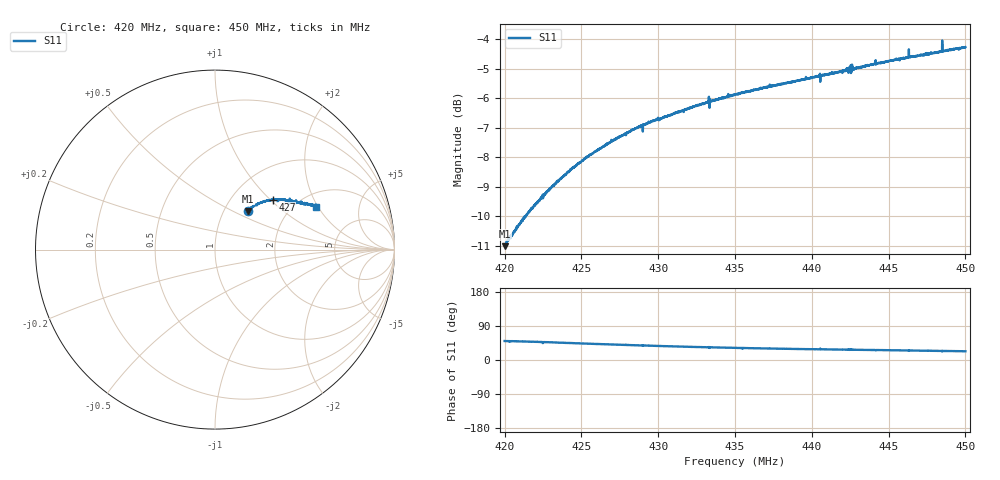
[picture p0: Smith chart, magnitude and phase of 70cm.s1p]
! Calibrated averaged scanner-service zoom
# Hz S RI R 50
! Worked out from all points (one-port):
!   3001 points, 420 MHz to 450 MHz, reference 50 ohm
!   lowest |S11| = -11.0 dB at 420 MHz (marker M1), VSWR 1.78, Z = 64.3 + j30 ohm
!   |S11| at or under -10 dB: start of sweep to 421.3395 MHz; 421.3525 MHz to 421.3678 MHz (15.27 kHz wide, 0.00362 % of centre); 421.376 MHz to 421.3827 MHz (6.672 kHz wide, 0.00158 % of centre)
!   S11 on the Smith chart (normalised r, x): 420 MHz: 1.28, +0.61; 427 MHz: 1.52, +1.03; 450 MHz: 2.52, +1.93
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4.2e8  0.1814 0.217
4.2002e8  0.1812 0.215
4.2061e8  0.1929 0.2261
4.2164e8  0.2144 0.2407
4.2281e8  0.2377 0.2556
4.2375e8  0.2579 0.2628
4.2527e8  0.2893 0.2724
4.2703e8  0.3208 0.2781
4.275e8  0.3294 0.2786
4.2838e8  0.3444 0.2792
4.295e8  0.3608 0.2798
4.3016e8  0.3702 0.2777
4.3125e8  0.3848 0.2776
4.3315e8  0.4098 0.274
4.3337e8  0.4121 0.273
4.35e8  0.4314 0.2697
4.3692e8  0.4504 0.265
4.3875e8  0.467 0.2618
4.3988e8  0.4754 0.2602
4.4053e8  0.4842 0.2641
4.4125e8  0.4877 0.2581
4.425e8  0.4991 0.2601
4.4499e8  0.5208 0.252
4.4625e8  0.5319 0.2492
4.4819e8  0.5482 0.2451
4.4864e8  0.5516 0.2432
4.4866e8  0.5517 0.2436
4.5e8  0.5633 0.2394
